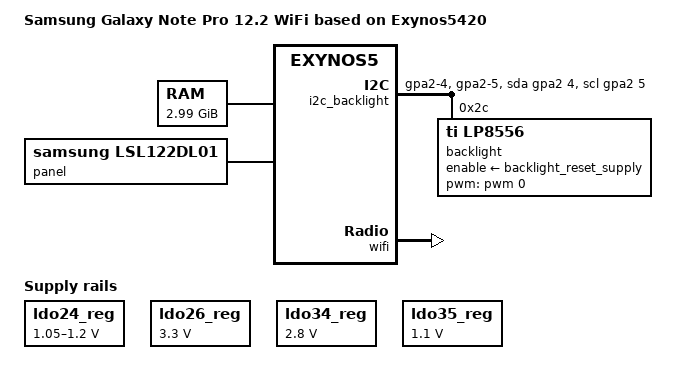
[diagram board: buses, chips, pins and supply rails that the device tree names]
// SPDX-License-Identifier: GPL-2.0
/*
 * Samsung's Exynos5420 Galaxy Note Pro 12.2 WiFi board device tree source
 *
 * Copyright (c) 2012-2013 Samsung Electronics Co., Ltd.
 *		http://www.samsung.com
 * Copyright (c) 2022 Henrik Grimler
 * Copyright (c) 2025 Hendrik Noack
 */

/dts-v1/;
#include "exynos5420-galaxy-tab-pro-common.dtsi"

/ {
	model = "Samsung Galaxy Note Pro 12.2 WiFi based on Exynos5420";
	compatible = "samsung,v1a-wifi", "samsung,exynos5420", \
			"samsung,exynos5";

	memory@20000000 {
		device_type = "memory";
		reg = <0x20000000 0xbfa00000>;
	};
	
	i2c_backlight: i2c-24 {
		compatible = "i2c-gpio";
		pinctrl-names = "default";
		pinctrl-0 = <&i2c24_gpio_bus>;
		sda-gpios = <&gpa2 4 (GPIO_ACTIVE_HIGH | GPIO_OPEN_DRAIN)>;
		scl-gpios = <&gpa2 5 (GPIO_ACTIVE_HIGH | GPIO_OPEN_DRAIN)>;
		i2c-gpio,delay-us = <2>;

		#address-cells = <1>;
		#size-cells = <0>;

		backlight: backlight@2c {
			compatible = "ti,lp8556";
			reg = <0x2c>;

			bl-name = "lcd-bl";
			dev-ctrl = /bits/ 8 <0x80>;
			init-brt = /bits/ 8 <0x80>;	/* 128 */

			pwms = <&pwm 0 100000 0>;
			pwm-names = "lp8556";
			pinctrl-names = "default";
			pinctrl-0 = <&pwm0_out>;

			enable-supply = <&backlight_reset_supply>;

			/* higher inductor current limit */
			rom-98h {
				rom-addr = /bits/ 8 <0x98>;
				rom-val = /bits/ 8 <0xa1>;
			};

			/* automatic standby via pwm disabled, 25 mA max LED current */
			rom-a1h {
				rom-addr = /bits/ 8 <0xa1>;
				rom-val = /bits/ 8 <0x5f>;
			};

			/* 200 ms slope, heavy smoothing, 1-bit PWM input hysteresis */
			rom-a3h {
				rom-addr = /bits/ 8 <0xa3>;
				rom-val = /bits/ 8 <0x5e>;
			};

			/* disable PWM passthrough, 6 PWM output phases, 9616 Hz PWM frequency */
			rom-a5h {
				rom-addr = /bits/ 8 <0xa5>;
				rom-val = /bits/ 8 <0x04>;
			};

			/* all reserved */
			rom-a8h {
				rom-addr = /bits/ 8 <0xa8>;
				rom-val = /bits/ 8 <0x00>;
			};

			/* 24 V max output voltage, jump detection on pwm input disabled */
			rom-a9h {
				rom-addr = /bits/ 8 <0xa9>;
				rom-val = /bits/ 8 <0xa0>;
			};
		};
	};
};

&ldo24_reg {
	regulator-name = "cam_sensor_core_1v2";
	regulator-min-microvolt = <1050000>;
	regulator-max-microvolt = <1200000>;
};

&ldo26_reg {
	regulator-name = "usb_3.0_drv_3v3";
	regulator-min-microvolt = <3300000>;
	regulator-max-microvolt = <3300000>;
};

&ldo34_reg {
	regulator-name = "vcc_sensor_2v8";
	regulator-min-microvolt = <2800000>;
	regulator-max-microvolt = <2800000>;
	regulator-always-on;
};

&ldo35_reg {
	/* Not defined, something with 1.1V */
	regulator-name = "vdd_ldo35";
	regulator-min-microvolt = <1100000>;
	regulator-max-microvolt = <1100000>;
};

&mmc_1 {
	sd-uhs-sdr104;
};

&mmc_2 {
	sd-uhs-sdr104;
};

&wifi {
	compatible = "brcm,bcm4354-fmac", "brcm,bcm4329-fmac";
};

&panel {
	compatible = "samsung,lsl122dl01";
};

&pinctrl_3 {
	i2c24_gpio_bus: i2c24-gpio-bus-pins {
		samsung,pins = "gpa2-4", "gpa2-5";
		samsung,pin-pud = <EXYNOS_PIN_PULL_NONE>;
		samsung,pin-drv = <EXYNOS5420_PIN_DRV_LV1>;
	};
};
